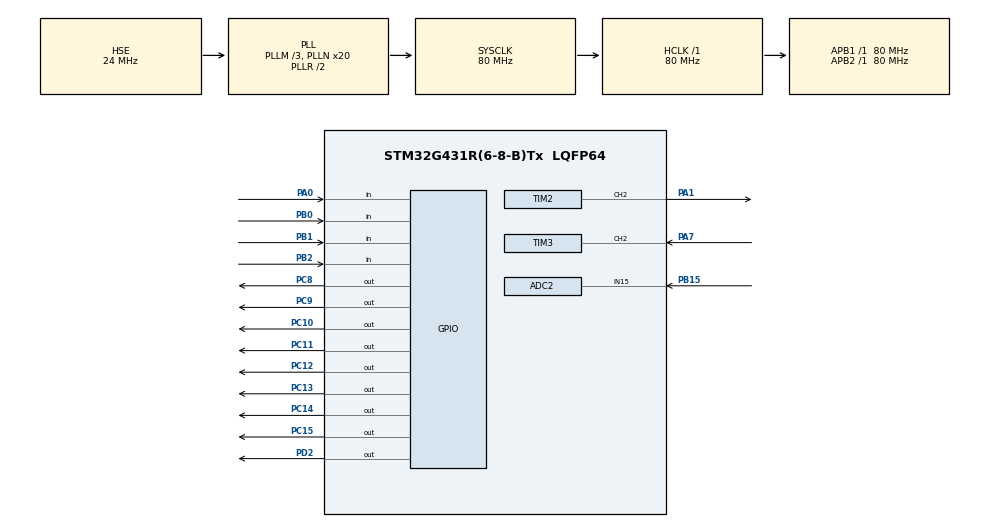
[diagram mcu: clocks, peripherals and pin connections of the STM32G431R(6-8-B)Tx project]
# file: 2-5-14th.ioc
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ADC2.Channel-0\#ChannelRegularConversion=ADC_CHANNEL_15
ADC2.ClockPrescaler=ADC_CLOCK_SYNC_PCLK_DIV2
ADC2.ContinuousConvMode=DISABLE
ADC2.DMAContinuousRequests=DISABLE
ADC2.NbrOfConversionFlag=1
ADC2.OffsetNumber-0\#ChannelRegularConversion=ADC_OFFSET_NONE
ADC2.Rank-0\#ChannelRegularConversion=1
ADC2.SamplingTime-0\#ChannelRegularConversion=ADC_SAMPLETIME_2CYCLES_5
Mcu.Family=STM32G4
Mcu.Name=STM32G431R(6-8-B)Tx
Mcu.Package=LQFP64
NVIC.ADC1_2_IRQn=true\:3\:0\:true\:false\:true\:true\:true\:true
NVIC.PriorityGroup=NVIC_PRIORITYGROUP_4
NVIC.TIM2_IRQn=true\:0\:0\:false\:false\:true\:true\:true\:true
NVIC.TIM3_IRQn=true\:2\:0\:true\:false\:true\:true\:true\:true
NVIC.TIM7_IRQn=true\:1\:0\:true\:false\:true\:true\:true\:true
PA0.GPIO_Mode=GPIO_MODE_INPUT
PA0.GPIO_PuPd=GPIO_PULLUP
PA0.Signal=GPIO_Input
PA1.Signal=S_TIM2_CH2
PA13.Mode=Serial_Wire
PA13.Signal=SYS_JTMS-SWDIO
PA14.Mode=Serial_Wire
PA14.Signal=SYS_JTCK-SWCLK
PA7.Signal=S_TIM3_CH2
PB0.GPIO_Mode=GPIO_MODE_INPUT
PB0.GPIO_PuPd=GPIO_PULLUP
PB0.Signal=GPIO_Input
PB1.GPIO_Mode=GPIO_MODE_INPUT
PB1.GPIO_PuPd=GPIO_PULLUP
PB1.Signal=GPIO_Input
PB15.Mode=IN15-Single-Ended
PB15.Signal=ADC2_IN15
PB2.GPIO_Mode=GPIO_MODE_INPUT
PB2.GPIO_PuPd=GPIO_PULLUP
PB2.Signal=GPIO_Input
PC10.PinState=GPIO_PIN_SET
PC10.Signal=GPIO_Output
PC11.PinState=GPIO_PIN_SET
PC11.Signal=GPIO_Output
PC12.PinState=GPIO_PIN_SET
PC12.Signal=GPIO_Output
PC13.PinState=GPIO_PIN_SET
PC13.Signal=GPIO_Output
PC14-OSC32_IN.PinState=GPIO_PIN_SET
PC14-OSC32_IN.Signal=GPIO_Output
PC15-OSC32_OUT.PinState=GPIO_PIN_SET
PC15-OSC32_OUT.Signal=GPIO_Output
PC8.PinState=GPIO_PIN_SET
PC8.Signal=GPIO_Output
PC9.PinState=GPIO_PIN_SET
PC9.Signal=GPIO_Output
PD2.PinState=GPIO_PIN_SET
PD2.Signal=GPIO_Output
PF0-OSC_IN.Mode=HSE-External-Oscillator
PF0-OSC_IN.Signal=RCC_OSC_IN
PF1-OSC_OUT.Mode=HSE-External-Oscillator
PF1-OSC_OUT.Signal=RCC_OSC_OUT
ProjectManager.HeapSize=0x200
ProjectManager.StackSize=0x400
ProjectManager.TargetToolchain=MDK-ARM V5.32
RCC.ADC12Freq_Value=80000000
RCC.AHBFreq_Value=80000000
RCC.APB1Freq_Value=80000000
RCC.APB1TimFreq_Value=80000000
RCC.APB2Freq_Value=80000000
RCC.APB2TimFreq_Value=80000000
RCC.CortexFreq_Value=80000000
RCC.EXTERNAL_CLOCK_VALUE=12288000
RCC.HCLKFreq_Value=80000000
RCC.HSE_VALUE=24000000
RCC.HSI48_VALUE=48000000
RCC.HSI_VALUE=16000000
RCC.LSE_VALUE=32768
RCC.PLLM=RCC_PLLM_DIV3
RCC.PLLN=20
RCC.PLLSourceVirtual=RCC_PLLSOURCE_HSE
RCC.SYSCLKFreq_VALUE=80000000
RCC.SYSCLKSource=RCC_SYSCLKSOURCE_PLLCLK
RCC.USBFreq_Value=80000000
RCC.VCOOutputFreq_Value=160000000
SH.S_TIM2_CH2.0=TIM2_CH2,PWM Generation2 CH2
SH.S_TIM3_CH2.0=TIM3_CH2,Input_Capture2_from_TI2
TIM2.Channel-PWM\ Generation2\ CH2=TIM_CHANNEL_2
TIM2.PeriodNoDither=250-1
TIM2.Prescaler=80-1
TIM3.Channel-Input_Capture1_from_TI2_63=TIM_CHANNEL_1
TIM3.Channel-Input_Capture2_from_TI2=TIM_CHANNEL_2
TIM3.ICPolarity_CH1=TIM_INPUTCHANNELPOLARITY_FALLING
TIM3.Prescaler=80-1
TIM7.PeriodNoDither=1000-1
TIM7.Prescaler=80-1
VP_SYS_VS_DBSignals.Mode=DisableDeadBatterySignals
VP_TIM2_VS_ClockSourceINT.Mode=Internal
VP_TIM3_VS_ClockSourceINT.Mode=Internal
VP_TIM3_VS_indirect_ch2.Mode=Input_Capture1_from_TI2_63
VP_TIM7_VS_ClockSourceINT.Mode=Enable_Timer
board=custom

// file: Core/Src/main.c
/* USER CODE BEGIN Header */
/**
  ******************************************************************************
  * @file           : main.c
  * @brief          : Main program body
  ******************************************************************************
  * @attention
  *
  * Copyright (c) 2025 STMicroelectronics.
  * All rights reserved.
  *
  * This software is licensed under terms that can be found in the LICENSE file
  * in the root directory of this software component.
  * If no LICENSE file comes with this software, it is provided AS-IS.
  *
  ******************************************************************************
  */
/* USER CODE END Header */
#include "main.h"
#include "adc.h"
#include "tim.h"
#include "gpio.h"

/* USER CODE BEGIN Includes */
#include "headfile.h"
/* USER CODE END Includes */

void SystemClock_Config(void);

int main(void)
{

  /* MCU Configuration--------------------------------------------------------*/

  /* Reset of all peripherals, Initializes the Flash interface and the Systick. */
  HAL_Init();

  /* Configure the system clock */
  SystemClock_Config();

  /* Initialize all configured peripherals */
  MX_GPIO_Init();
  MX_ADC2_Init();
  MX_TIM2_Init();
  MX_TIM3_Init();
  MX_TIM7_Init();
  /* USER CODE BEGIN 2 */
	HAL_GPIO_WritePin(GPIOD,GPIO_PIN_2,GPIO_PIN_RESET);
	led_show(1,0);
	led_show(2,0);
	led_show(3,0);
	led_show(4,0);
	led_show(5,0);
	led_show(6,0);
	led_show(7,0);
	led_show(8,0);
	led_show(2,1);
	LCD_Init();
	LCD_Clear(Black);
	LCD_SetTextColor(White);
	LCD_SetBackColor(Black);

	HAL_TIM_Base_Start_IT(&htim7);

	HAL_TIM_PWM_Start_IT(&htim2,TIM_CHANNEL_2);
	__HAL_TIM_SetCompare(&htim2,TIM_CHANNEL_2,100-1);

	HAL_TIM_IC_Start_IT(&htim3,TIM_CHANNEL_2);
	HAL_TIM_IC_Start_IT(&htim3,TIM_CHANNEL_1);

  /* USER CODE END 2 */

  /* Infinite loop */
  /* USER CODE BEGIN WHILE */
  while (1)
  {
		lcd_show();
		while_fun();
    /* USER CODE END WHILE */

  }
}

void SystemClock_Config(void)
{
  RCC_OscInitTypeDef RCC_OscInitStruct = {0};
  RCC_ClkInitTypeDef RCC_ClkInitStruct = {0};

  /** Configure the main internal regulator output voltage
  */
  HAL_PWREx_ControlVoltageScaling(PWR_REGULATOR_VOLTAGE_SCALE1);

  /** Initializes the RCC Oscillators according to the specified parameters
  * in the RCC_OscInitTypeDef structure.
  */
  RCC_OscInitStruct.OscillatorType = RCC_OSCILLATORTYPE_HSE;
  RCC_OscInitStruct.HSEState = RCC_HSE_ON;
  RCC_OscInitStruct.PLL.PLLState = RCC_PLL_ON;
  RCC_OscInitStruct.PLL.PLLSource = RCC_PLLSOURCE_HSE;
  RCC_OscInitStruct.PLL.PLLM = RCC_PLLM_DIV3;
  RCC_OscInitStruct.PLL.PLLN = 20;
  RCC_OscInitStruct.PLL.PLLP = RCC_PLLP_DIV2;
  RCC_OscInitStruct.PLL.PLLQ = RCC_PLLQ_DIV2;
  RCC_OscInitStruct.PLL.PLLR = RCC_PLLR_DIV2;
  if (HAL_RCC_OscConfig(&RCC_OscInitStruct) != HAL_OK)
  {
    Error_Handler();
  }

  /** Initializes the CPU, AHB and APB buses clocks
  */
  RCC_ClkInitStruct.ClockType = RCC_CLOCKTYPE_HCLK|RCC_CLOCKTYPE_SYSCLK
                              |RCC_CLOCKTYPE_PCLK1|RCC_CLOCKTYPE_PCLK2;
  RCC_ClkInitStruct.SYSCLKSource = RCC_SYSCLKSOURCE_PLLCLK;
  RCC_ClkInitStruct.AHBCLKDivider = RCC_SYSCLK_DIV1;
  RCC_ClkInitStruct.APB1CLKDivider = RCC_HCLK_DIV1;
  RCC_ClkInitStruct.APB2CLKDivider = RCC_HCLK_DIV1;

  if (HAL_RCC_ClockConfig(&RCC_ClkInitStruct, FLASH_LATENCY_2) != HAL_OK)
  {
    Error_Handler();
  }
}

void Error_Handler(void)
{
  __disable_irq();
  while (1)
  {
  }
}
